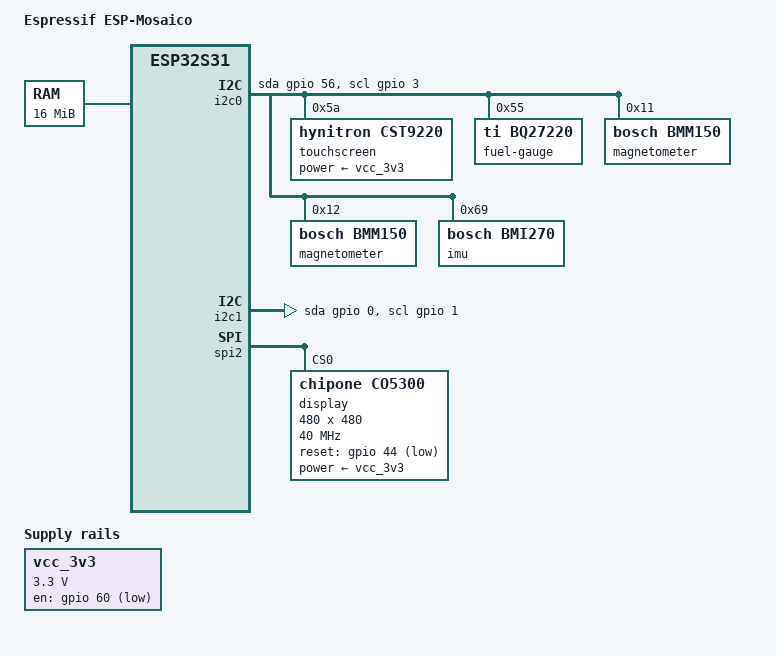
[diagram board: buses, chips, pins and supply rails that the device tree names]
// SPDX-License-Identifier: GPL-2.0+

#include "esp32s31.dtsi"
#include <dt-bindings/gpio/gpio.h>
#include "include/dt-bindings/pinctrl/esp32s31-pinctrl.h"

/ {
	model = "Espressif ESP-Mosaico";
	compatible = "espressif,esp-mosaico", "espressif,esp32s31",
	    "esp,esp32s31";
	aliases { serial0 = &uart0; };
	chosen { stdout-path = "serial0:115200n8"; };

	vcc_3v3: regulator-vcc-3v3 {
		compatible = "regulator-fixed";
		regulator-name = "VCC_3V3";
		regulator-min-microvolt = <3300000>;
		regulator-max-microvolt = <3300000>;
		gpio = <&gpio 60 GPIO_ACTIVE_LOW>;
		regulator-always-on;
		regulator-boot-on;
		startup-delay-us = <10000>;
	};

	/* 24 MHz XCLK for OV3640; SC101IOT modules provide their own XCLK. */
	camera_xclk: camera-xclk {
		compatible = "fixed-clock";
		#clock-cells = <0>;
		clock-frequency = <24000000>;
		clock-output-names = "camera-xclk";
		status = "disabled";
	};

	/* Shared sensor bus; standard-mode GPIO I2C during bring-up. */
	i2c0: i2c {
		compatible = "i2c-gpio";
		#address-cells = <1>;
		#size-cells = <0>;
		sda-gpios = <&gpio 56 GPIO_OPEN_DRAIN>;
		scl-gpios = <&gpio 3 GPIO_OPEN_DRAIN>;

		touchscreen@5a {
			compatible = "hynitron,cst9220";
			reg = <0x5a>;
			power-supply = <&vcc_3v3>;
		};

		fuel-gauge@55 {
			compatible = "ti,bq27220";
			reg = <0x55>;
		};

		magnetometer@11 {
			compatible = "bosch,bmm150";
			reg = <0x11>;
		};

		magnetometer@12 {
			compatible = "bosch,bmm150";
			reg = <0x12>;
		};

		imu@69 {
			compatible = "bosch,bmi270";
			reg = <0x69>;
		};
	};

	/* Shared expansion-slot bus; does not claim slot-control pins. */
	i2c1: i2c-slots {
		compatible = "i2c-gpio";
		#address-cells = <1>;
		#size-cells = <0>;
		sda-gpios = <&gpio 0 GPIO_OPEN_DRAIN>;
		scl-gpios = <&gpio 1 GPIO_OPEN_DRAIN>;

		camera: camera@3c {
			compatible = "ovti,ov3640";
			reg = <0x3c>;
			reset-gpios = <&gpio 53 GPIO_ACTIVE_LOW>;
			powerdown-gpios = <&gpio 48 GPIO_ACTIVE_HIGH>;
			power-supply = <&vcc_3v3>;
			clocks = <&camera_xclk>;
			clock-names = "xclk";
			status = "disabled";
		};

		/* The SC101IOT module carries its own XCLK; its rate is unverified. */
		camera_sc101iot: camera@68 {
			compatible = "smartsens,sc101iot";
			reg = <0x68>;
			reset-gpios = <&gpio 53 GPIO_ACTIVE_LOW>;
			powerdown-gpios = <&gpio 48 GPIO_ACTIVE_HIGH>;
			power-supply = <&vcc_3v3>;
			status = "disabled";
			port {
				sensor_out: endpoint {
					remote-endpoint = <&dvp_in>;
				};
			};
		};
	};

	memory@50000000 {
		device_type = "memory";
		reg = <0x50000000 0x01000000>;
	};
};

&camera_dvp {
	status = "disabled";
	pinctrl-names = "default";
	pinctrl-0 = <&camera_dvp_pins>;
	port {
		dvp_in: endpoint {
			remote-endpoint = <&sensor_out>;
		};
	};
};

&gpio {
	status = "okay";

	lcd_pins: lcd-pins {
		control {
			pinmux = <ESP32S31_PINMUX(42, ESP32S31_SIG_NONE,
			    ESP32S31_SPI2_CLK)>,
			    <ESP32S31_PINMUX(50, ESP32S31_SIG_NONE,
			    ESP32S31_SPI2_CS)>;
			output-enable;
			bias-disable;
		};
		data {
			pinmux = <ESP32S31_PINMUX(36, ESP32S31_SPI2_D,
			    ESP32S31_SPI2_D)>,
			    <ESP32S31_PINMUX(51, ESP32S31_SPI2_Q,
			    ESP32S31_SPI2_Q)>,
			    <ESP32S31_PINMUX(35, ESP32S31_SPI2_WP,
			    ESP32S31_SPI2_WP)>,
			    <ESP32S31_PINMUX(9, ESP32S31_SPI2_HD,
			    ESP32S31_SPI2_HD)>;
			input-enable;
			output-enable;
			bias-disable;
		};
	};

	camera_dvp_pins: camera-dvp-pins {
		camera-inputs {
			pinmux = <ESP32S31_PINMUX(17, ESP32S31_CAM_PCLK,
			    ESP32S31_SIG_NONE)>,
			    <ESP32S31_PINMUX(19, ESP32S31_CAM_DE,
			    ESP32S31_SIG_NONE)>,
			    <ESP32S31_PINMUX(55, ESP32S31_CAM_VSYNC,
			    ESP32S31_SIG_NONE)>,
			    <ESP32S31_PINMUX(16, ESP32S31_CAM_DATA0,
			    ESP32S31_SIG_NONE)>,
			    <ESP32S31_PINMUX(15, ESP32S31_CAM_DATA1,
			    ESP32S31_SIG_NONE)>,
			    <ESP32S31_PINMUX(33, ESP32S31_CAM_DATA2,
			    ESP32S31_SIG_NONE)>,
			    <ESP32S31_PINMUX(4, ESP32S31_CAM_DATA3,
			    ESP32S31_SIG_NONE)>,
			    <ESP32S31_PINMUX(14, ESP32S31_CAM_DATA4,
			    ESP32S31_SIG_NONE)>,
			    <ESP32S31_PINMUX(12, ESP32S31_CAM_DATA5,
			    ESP32S31_SIG_NONE)>,
			    <ESP32S31_PINMUX(18, ESP32S31_CAM_DATA6,
			    ESP32S31_SIG_NONE)>,
			    <ESP32S31_PINMUX(13, ESP32S31_CAM_DATA7,
			    ESP32S31_SIG_NONE)>;
			input-enable;
			bias-disable;
		};
	};
};

&spi2 {
	status = "okay";
	pinctrl-names = "default";
	pinctrl-0 = <&lcd_pins>;

	display@0 {
		compatible = "chipone,co5300";
		reg = <0>;
		spi-max-frequency = <40000000>;
		spi-tx-bus-width = <4>;
		width = <480>;
		height = <480>;
		reset-gpios = <&gpio 44 GPIO_ACTIVE_LOW>;
		power-supply = <&vcc_3v3>;
		/*
		 * Panel setup from esp-mosaico-bsp display.c, Apache-2.0,
		 * commit 7cbfb390638dcb93522fc3cde094b2d43cf907c2.
		 * Records: command, count, delay-ms (BE16), parameters.
		 * MADCTL=0, RGB565; TE is unused by the polling renderer.
		 */
		chipone,init-sequence = [
			36 01 00 00 00
			3a 01 00 00 55
			11 00 02 58
			fe 01 00 00 20
			19 01 00 00 10
			1c 01 00 00 a0
			fe 01 00 00 00
			c4 01 00 00 80
			3a 01 00 00 55
			53 01 00 00 20
			51 01 00 00 ff
			63 01 00 00 ff
			2a 04 00 00 00 00 01 df
			2b 04 00 00 00 00 01 df
			29 00 02 58
		];
	};
};
